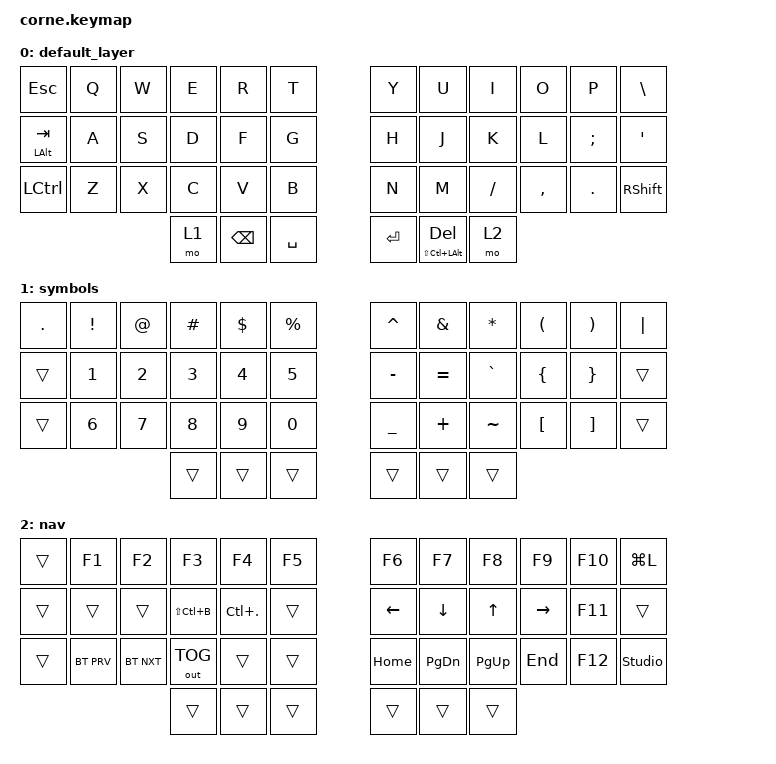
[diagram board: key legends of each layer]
/*
 * Copyright (c) 2020 The ZMK Contributors
 *
 * SPDX-License-Identifier: MIT
 */

#include <behaviors.dtsi>
#include <dt-bindings/zmk/bt.h>
#include <dt-bindings/zmk/keys.h>
#include <dt-bindings/zmk/outputs.h>

#define MEH LS(LC(LALT))

/ {
    combos {
        compatible = "zmk,combos";

        cut {
            bindings = <&kp LC(X)>;
            key-positions = <25 26>;
            layers = <0>;
        };

        copy {
            bindings = <&kp LC(C)>;
            key-positions = <26 27>;
            layers = <0>;
        };

        paste {
            bindings = <&kp LC(V)>;
            key-positions = <27 28>;
            layers = <0>;
        };

        caps_word {
            bindings = <&caps_word>;
            key-positions = <5 6>;
            layers = <0>;
        };

        escape {
            bindings = <&kp ESCAPE>;
            key-positions = <19 20>;
            layers = <0>;
        };

        reset_bluetooth {
            bindings = <&bt BT_CLR>;
            key-positions = <5 6 4 3 7 8>;
            layers = <2>;
        };
    };

    keymap {
        compatible = "zmk,keymap";

        default_layer {
            bindings = <
&kp ESCAPE    &kp Q  &kp W  &kp E  &kp R          &kp T          &kp Y    &kp U           &kp I     &kp O      &kp P     &kp BACKSLASH
&mt LALT TAB  &kp A  &kp S  &kp D  &kp F          &kp G          &kp H    &kp J           &kp K     &kp L      &kp SEMI  &kp SQT
&kp LCTRL     &kp Z  &kp X  &kp C  &kp V          &kp B          &kp N    &kp M           &kp FSLH  &kp COMMA  &kp DOT   &kp RSHIFT
                            &mo 1  &kp BACKSPACE  &kp SPACE    &kp RET  &mt MEH DELETE  &mo 2
            >;
        };

        symbols {
            bindings = <
&kp PERIOD  &kp EXCLAMATION  &kp AT_SIGN   &kp HASH      &kp DOLLAR    &kp PERCENT     &kp CARET       &kp AMPERSAND  &kp ASTERISK  &kp LEFT_PARENTHESIS  &kp RIGHT_PARENTHESIS  &kp PIPE
&trans      &kp NUMBER_1     &kp NUMBER_2  &kp NUMBER_3  &kp NUMBER_4  &kp NUMBER_5    &kp MINUS       &kp EQUAL      &kp GRAVE     &kp LEFT_BRACE        &kp RIGHT_BRACE        &trans
&trans      &kp NUMBER_6     &kp NUMBER_7  &kp NUMBER_8  &kp NUMBER_9  &kp NUMBER_0    &kp UNDERSCORE  &kp PLUS       &kp TILDE     &kp LEFT_BRACKET      &kp RIGHT_BRACKET      &trans
                                           &trans        &trans        &trans          &trans          &trans         &trans
            >;
        };

        nav {
            bindings = <
&trans  &kp F1      &kp F2      &kp F3         &kp F4          &kp F5    &kp F6          &kp F7         &kp F8        &kp F9     &kp F10  &kp LG(L)
&trans  &trans      &trans      &kp LS(LC(B))  &kp LC(PERIOD)  &trans    &kp LEFT_ARROW  &kp DOWN       &kp UP_ARROW  &kp RIGHT  &kp F11  &trans
&trans  &bt BT_PRV  &bt BT_NXT  &out OUT_TOG   &trans          &trans    &kp HOME        &kp PAGE_DOWN  &kp PAGE_UP   &kp END    &kp F12  &studio_unlock
                                &trans         &trans          &trans    &trans          &trans         &trans
            >;
        };
    };
};
